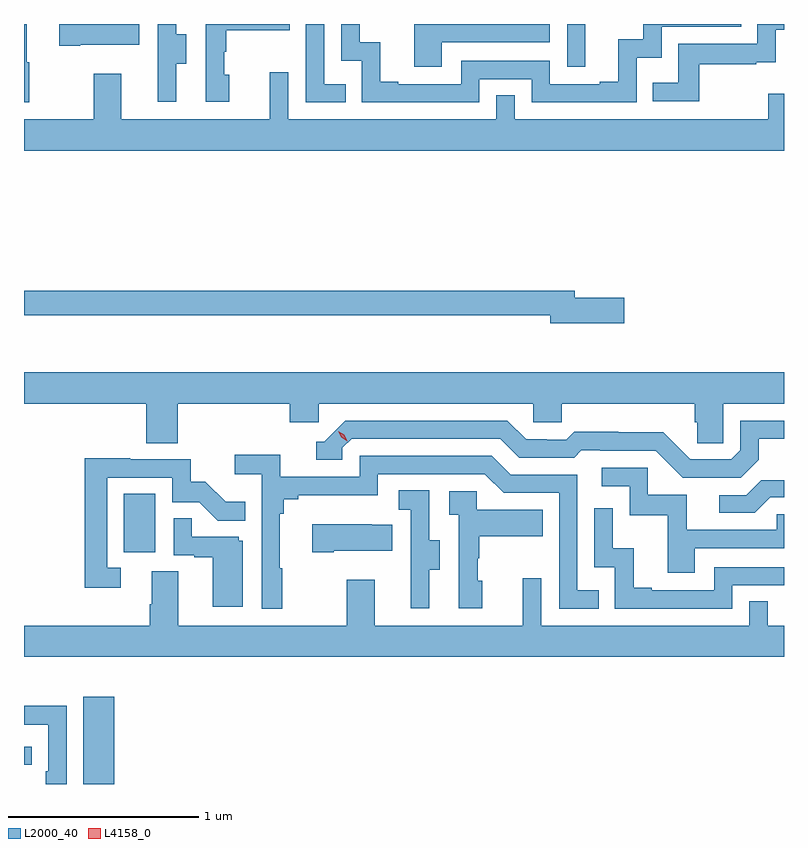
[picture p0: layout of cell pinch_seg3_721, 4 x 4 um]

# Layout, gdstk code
import gdstk
lib = gdstk.Library(unit=1e-6, precision=1e-09)
def R(c, l, rs):  # rectangles x0, y0, x1, y1
    for r in rs: c.add(gdstk.rectangle(r[:2], r[2:], *l))
def P(c, l, *ps):  # polygons
    for p in ps: c.add(gdstk.Polygon(p, *l))
L2000_40 = (2000, 40)
L4158_0 = (4158, 0)

pinch_seg3_721 = lib.new_cell('pinch_seg3_721')
R(pinch_seg3_721, L2000_40, [(856.415,730.882,856.576,731.341), (856.102,730.983,856.144,731.079), (856.628,732.102,856.792,732.409), (858.96,734.658,859.057,734.882)])
P(pinch_seg3_721, L2000_40, [(858.498,734.592),(858.774,734.592),(858.774,734.469),(859.326,734.469),(859.326,734.705),(859.458,734.705),(859.458,734.868),(859.877,734.868),(859.877,734.882),(859.362,734.882),(859.362,734.803),(859.229,734.803),(859.229,734.578),(859.133,734.578),(859.133,734.565),(858.87,734.565),(858.87,734.688),(858.402,734.688),(858.402,734.565),(858.073,734.565),(858.073,734.578),(857.978,734.578),(857.978,734.786),(857.868,734.786),(857.868,734.882),(857.772,734.882),(857.772,734.688),(857.88,734.688),(857.88,734.469),(858.498,734.469)],
  [(858.301,734.787),(858.87,734.787),(858.87,734.882),(858.157,734.882),(858.157,734.658),(858.301,734.658)],
  [(859.657,734.67),(859.955,734.67),(859.955,734.681),(860.058,734.681),(860.058,734.853),(860.102,734.853),(860.102,734.882),(859.962,734.882),(859.962,734.778),(859.546,734.778),(859.546,734.572),(859.411,734.572),(859.411,734.475),(859.657,734.475)],
  [(856.903,734.674),(856.957,734.674),(856.957,734.829),(856.902,734.829),(856.902,734.882),(856.806,734.882),(856.806,734.685),(856.805,734.685),(856.805,734.472),(856.903,734.472)],
  [(856.399,734.774),(856.709,734.774),(856.709,734.882),(856.287,734.882),(856.287,734.767),(856.399,734.767)],
  [(857.795,734.565),(857.682,734.565),(857.682,734.882),(857.586,734.882),(857.586,734.469),(857.795,734.469)],
  [(856.129,734.681),(856.117,734.681),(856.117,734.882),(856.102,734.882),(856.102,734.469),(856.129,734.469)],
  [(857.182,734.616),(857.157,734.616),(857.157,734.735),(857.167,734.735),(857.167,734.849),(857.501,734.849),(857.501,734.882),(857.058,734.882),(857.058,734.472),(857.182,734.472)],
  [(860.102,734.515),(860.02,734.515),(860.02,734.38),(858.684,734.38),(858.684,734.507),(858.588,734.507),(858.588,734.38),(857.493,734.38),(857.493,734.629),(857.396,734.629),(857.396,734.38),(856.615,734.38),(856.615,734.62),(856.468,734.62),(856.468,734.38),(856.102,734.38),(856.102,734.216),(860.102,734.216)],
  [(859.261,733.442),(859,733.442),(859,733.478),(856.102,733.478),(856.102,733.35),(858.872,733.35),(858.872,733.307),(859.261,733.307)],
  [(856.91,732.884),(857.501,732.884),(857.501,732.786),(857.652,732.786),(857.652,732.884),(858.783,732.884),(858.783,732.786),(858.933,732.786),(858.933,732.884),(859.631,732.884),(859.631,732.786),(859.645,732.786),(859.645,732.676),(859.782,732.676),(859.782,732.884),(860.102,732.884),(860.102,733.048),(856.102,733.048),(856.102,732.884),(856.745,732.884),(856.745,732.676),(856.91,732.676)],
  [(859.969,732.589),(859.969,732.699),(860.102,732.699),(860.102,732.795),(859.872,732.795),(859.872,732.639),(859.824,732.591),(859.608,732.591),(859.466,732.733),(859.23,732.733),(859.23,732.736),(858.997,732.736),(858.955,732.693),(858.852,732.693),(858.852,732.696),(858.745,732.696),(858.646,732.795),(857.793,732.795),(857.682,732.684),(857.639,732.684),(857.639,732.588),(857.778,732.588),(857.778,732.651),(857.826,732.699),(858.609,732.699),(858.708,732.6),(858.997,732.6),(859.036,732.639),(859.135,732.639),(859.135,732.636),(859.428,732.636),(859.569,732.495),(859.875,732.495)],
  [(857.461,732.017),(857.449,732.017),(857.449,732.305),(857.468,732.305),(857.468,732.382),(857.545,732.382),(857.545,732.401),(857.964,732.401),(857.964,732.513),(858.528,732.513),(858.627,732.414),(858.918,732.414),(858.918,731.805),(859.127,731.805),(859.127,731.901),(859.014,731.901),(859.014,732.51),(858.664,732.51),(858.565,732.609),(857.868,732.609),(857.868,732.498),(857.45,732.498),(857.45,732.614),(857.211,732.614),(857.211,732.512),(857.352,732.512),(857.352,731.805),(857.461,731.805)],
  [(856.612,732.021),(856.539,732.021),(856.539,732.495),(856.881,732.495),(856.881,732.366),(857.025,732.366),(857.123,732.268),(857.267,732.268),(857.267,732.367),(857.163,732.367),(857.056,732.474),(856.98,732.474),(856.98,732.591),(856.661,732.591),(856.661,732.596),(856.423,732.596),(856.423,731.916),(856.612,731.916)],
  [(859.633,732.123),(860.102,732.123),(860.102,732.303),(860.065,732.303),(860.065,732.219),(859.591,732.219),(859.591,732.405),(859.386,732.405),(859.386,732.546),(859.143,732.546),(859.143,732.45),(859.29,732.45),(859.29,732.297),(859.489,732.297),(859.489,731.994),(859.633,731.994)],
  [(860.029,732.39),(860.102,732.39),(860.102,732.482),(859.982,732.482),(859.902,732.402),(859.761,732.402),(859.761,732.309),(859.948,732.309)],
  [(858.235,732.01),(858.289,732.01),(858.289,732.165),(858.234,732.165),(858.234,732.428),(858.075,732.428),(858.075,732.325),(858.138,732.325),(858.138,732.021),(858.137,732.021),(858.137,731.808),(858.235,731.808)],
  [(858.514,731.952),(858.489,731.952),(858.489,732.071),(858.499,732.071),(858.499,732.185),(858.833,732.185),(858.833,732.325),(858.486,732.325),(858.486,732.423),(858.339,732.423),(858.339,732.299),(858.39,732.299),(858.39,731.808),(858.514,731.808)],
  [(859.83,731.928),(860.102,731.928),(860.102,732.024),(859.734,732.024),(859.734,731.901),(859.405,731.901),(859.405,731.914),(859.31,731.914),(859.31,732.122),(859.2,732.122),(859.2,732.334),(859.104,732.334),(859.104,732.024),(859.212,732.024),(859.212,731.805),(859.83,731.805)],
  [(857.254,732.162),(857.232,732.162),(857.232,732.183),(856.985,732.183),(856.985,732.281),(856.89,732.281),(856.89,732.087),(856.997,732.087),(856.997,732.075),(857.096,732.075),(857.096,731.814),(857.254,731.814)],
  [(857.731,732.11),(858.041,732.11),(858.041,732.247),(857.933,732.247),(857.933,732.25),(857.619,732.25),(857.619,732.103),(857.731,732.103)],
  [(860.102,731.716),(860.016,731.716),(860.016,731.843),(859.92,731.843),(859.92,731.716),(858.825,731.716),(858.825,731.965),(858.728,731.965),(858.728,731.716),(857.947,731.716),(857.947,731.956),(857.8,731.956),(857.8,731.716),(856.915,731.716),(856.915,732.002),(856.775,732.002),(856.775,731.828),(856.763,731.828),(856.763,731.716),(856.102,731.716),(856.102,731.552),(860.102,731.552)],
  [(856.326,731.294),(856.102,731.294),(856.102,731.193),(856.23,731.193),(856.23,730.948),(856.217,730.948),(856.217,730.882),(856.326,730.882)])
P(pinch_seg3_721, L4158_0, [(857.803,732.686),(857.772,732.706),(857.757,732.739),(857.757,732.739),(857.757,732.739),(857.787,732.719),(857.803,732.686),(857.803,732.686)])

lib.write_gds('pinch_seg3_721.gds')
